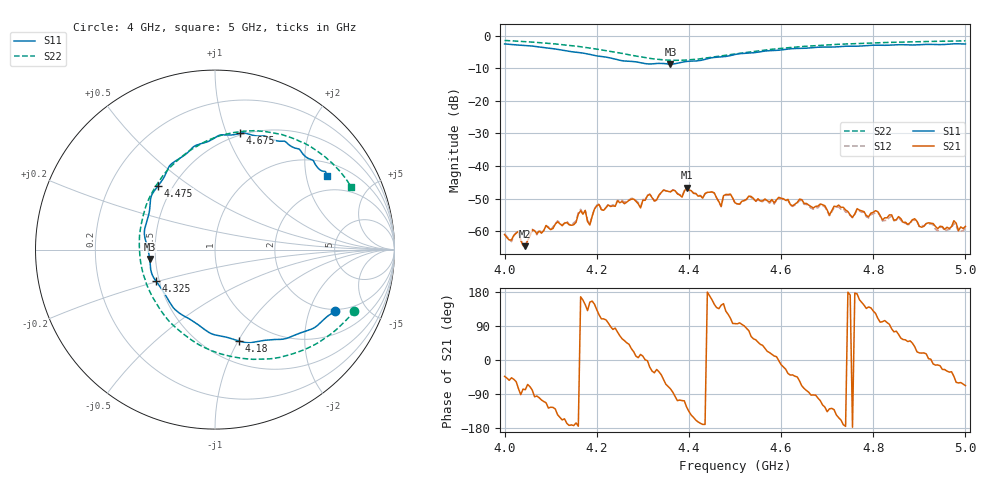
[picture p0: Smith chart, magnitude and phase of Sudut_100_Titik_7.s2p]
# Hz S RI R 50
! CMT, C1220, 16058040, 17.2.0/1
! Date: 15/08/2018 12:01:45
! Data: Format (Calibration Info)
! Freq  S11: Re/Im (F2)  S21: Re/Im (F2)  S12: Re/Im (F2)  S22: Re/Im (F2)
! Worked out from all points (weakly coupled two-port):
!   201 points, 4 GHz to 5 GHz, reference 50 ohm
!   highest |S21| = -46.68 dB at 4.395 GHz (marker M1); lowest = -64.6 dB at 4.045 GHz (marker M2)
!   lowest |S11| = -8.7 dB at 4.36 GHz (marker M3), VSWR 2.17, Z = 23.2 - j2.78 ohm
!   |S11| at or under -10 dB: nowhere
!   |S22| runs from -7.5 to -1.4 dB; largest |S21 - S12| = 0.00017
!   S11 on the Smith chart (normalised r, x): 4 GHz: 1.91, -3.00; 4.18 GHz: 0.72, -1.01; 4.325 GHz: 0.48, -0.20; 4.475 GHz: 0.42, +0.38; 4.675 GHz: 0.48, +1.12; 5 GHz: 1.42, +2.66
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4e9  0.6666 -0.344  0.000646 -0.000606  0.000696 -0.000587  0.7765 -0.3408
4.015e9  0.6389 -0.363  0.0005 -0.000533  0.000492 -0.000481  0.7487 -0.3741
4.03e9  0.606 -0.3899  0.00025 -0.00096  0.000327 -0.000969  0.7187 -0.4049
4.045e9  0.5712 -0.4222  0.000119 -0.000574  0.000144 -0.000588  0.6859 -0.437
4.06e9  0.536 -0.4437  0.000194 -0.00103  0.000183 -0.00105  0.6505 -0.4665
4.145e9  0.2575 -0.5088  -0.00121 -0.000186  -0.00119 -0.00021  0.3797 -0.5953
4.17e9  0.1658 -0.517  -0.00169 0.000676  -0.00175 0.000687  0.2798 -0.6097
4.18e9  0.1345 -0.5093  -0.000908 0.00107  -0.000942 0.00111  0.2378 -0.6108
4.205e9  0.0404 -0.4835  -0.00125 0.00224  -0.00129 0.0023  0.1282 -0.6024
4.325e9  -0.3288 -0.176  0.00241 -0.00161  0.0024 -0.00162  -0.336 -0.2851
4.335e9  -0.3483 -0.1437  0.00307 -0.00185  0.00295 -0.00185  -0.3607 -0.2395
4.36e9  -0.3645 -0.0518  0.000952 -0.00388  0.00094 -0.00393  -0.4044 -0.1181
4.395e9  -0.3937 0.0888  -0.00261 -0.00383  -0.00272 -0.00381  -0.4214 0.0541
4.455e9  -0.3531 0.3028  -0.00324 0.00209  -0.00318 0.00219  -0.3487 0.3204
4.47e9  -0.3279 0.3408  -0.00195 0.00139  -0.00186 0.00146  -0.3166 0.3741
4.475e9  -0.316 0.357  -0.00298 0.00181  -0.00283 0.00184  -0.3049 0.3908
4.5e9  -0.2654 0.4422  -0.000288 0.0027  -0.000283 0.00267  -0.2406 0.4676
4.595e9  -0.049 0.5982  0.0033 -9.35e-05  0.00317 -0.000112  0.0314 0.6358
4.67e9  0.1314 0.6452  -8.52e-05 -0.00226  -0.000152 -0.00216  0.2391 0.6613
4.675e9  0.1414 0.648  -0.000118 -0.0024  -0.000161 -0.00229  0.2517 0.6605
4.835e9  0.4385 0.5683  -0.000132 0.00177  -0.000134 0.00162  0.573 0.5464
5e9  0.6254 0.4113  0.000451 -0.00109  0.000497 -0.000991  0.7591 0.3495
